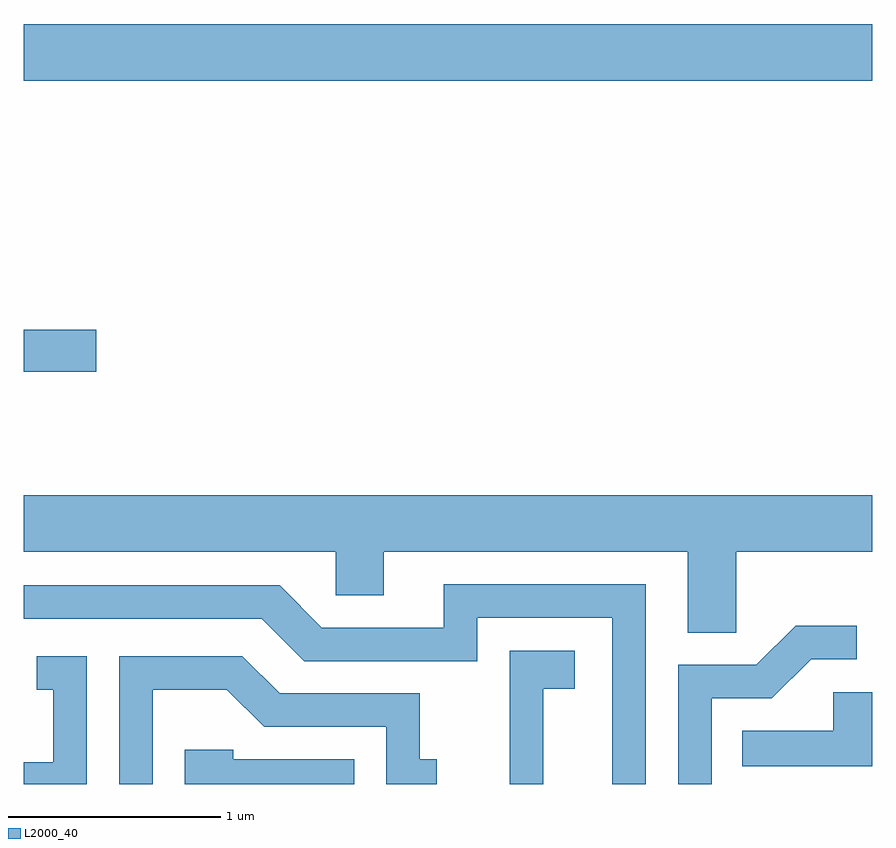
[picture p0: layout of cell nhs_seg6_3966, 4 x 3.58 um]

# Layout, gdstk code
import gdstk
lib = gdstk.Library(unit=1e-6, precision=1e-09)
def R(c, l, rs):  # rectangles x0, y0, x1, y1
    for r in rs: c.add(gdstk.rectangle(r[:2], r[2:], *l))
def P(c, l, *ps):  # polygons
    for p in ps: c.add(gdstk.Polygon(p, *l))
L2000_40 = (2000, 40)

nhs_seg6_3966 = lib.new_cell('nhs_seg6_3966')
R(nhs_seg6_3966, L2000_40, [(303.611,1664.106,303.954,1664.304), (303.611,1665.476,307.611,1665.744)])
P(nhs_seg6_3966, L2000_40, [(306.969,1663.256),(307.611,1663.256),(307.611,1663.524),(303.611,1663.524),(303.611,1663.256),(305.081,1663.256),(305.081,1663.051),(305.309,1663.051),(305.309,1663.256),(306.741,1663.256),(306.741,1662.876),(306.969,1662.876)],
  [(306.544,1663.104),(305.591,1663.104),(305.591,1662.899),(305.017,1662.899),(304.817,1663.099),(303.611,1663.099),(303.611,1662.941),(304.734,1662.941),(304.934,1662.741),(305.749,1662.741),(305.749,1662.946),(306.386,1662.946),(306.386,1662.162),(306.544,1662.162)],
  [(306.854,1662.566),(307.137,1662.566),(307.322,1662.751),(307.538,1662.751),(307.538,1662.909),(307.249,1662.909),(307.064,1662.724),(306.696,1662.724),(306.696,1662.162),(306.854,1662.162)],
  [(306.059,1662.611),(306.209,1662.611),(306.209,1662.789),(305.901,1662.789),(305.901,1662.162),(306.059,1662.162)],
  [(303.909,1662.764),(303.673,1662.764),(303.673,1662.606),(303.751,1662.606),(303.751,1662.264),(303.611,1662.264),(303.611,1662.162),(303.909,1662.162)],
  [(304.219,1662.606),(304.569,1662.606),(304.744,1662.431),(305.321,1662.431),(305.321,1662.162),(305.558,1662.162),(305.558,1662.279),(305.479,1662.279),(305.479,1662.589),(304.817,1662.589),(304.642,1662.764),(304.061,1662.764),(304.061,1662.162),(304.219,1662.162)],
  [(307.611,1662.594),(307.426,1662.594),(307.426,1662.414),(306.998,1662.414),(306.998,1662.246),(307.611,1662.246)],
  [(305.169,1662.279),(304.599,1662.279),(304.599,1662.324),(304.371,1662.324),(304.371,1662.162),(305.169,1662.162)])

lib.write_gds('nhs_seg6_3966.gds')
